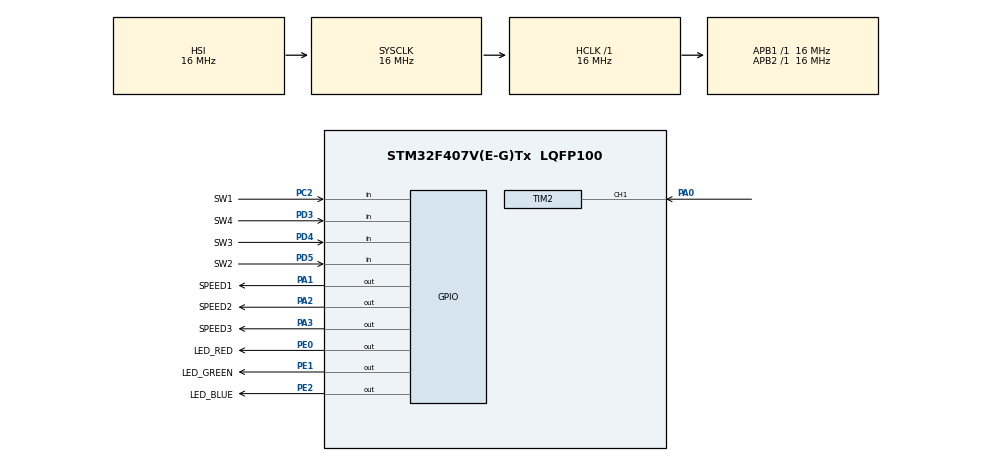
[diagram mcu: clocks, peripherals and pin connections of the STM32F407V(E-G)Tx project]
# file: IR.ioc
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Mcu.Family=STM32F4
Mcu.Name=STM32F407V(E-G)Tx
Mcu.Package=LQFP100
NVIC.PriorityGroup=NVIC_PRIORITYGROUP_4
NVIC.TIM2_IRQn=true\:0\:0\:false\:false\:true\:true\:true
PA0-WKUP.GPIO_PuPd=GPIO_PULLUP
PA0-WKUP.Signal=S_TIM2_CH1_ETR
PA1.GPIO_Label=SPEED1
PA1.GPIO_ModeDefaultOutputPP=GPIO_MODE_OUTPUT_PP
PA1.GPIO_Speed=GPIO_SPEED_FREQ_MEDIUM
PA1.Signal=GPIO_Output
PA13.Mode=Serial_Wire
PA13.Signal=SYS_JTMS-SWDIO
PA14.Mode=Serial_Wire
PA14.Signal=SYS_JTCK-SWCLK
PA2.GPIO_Label=SPEED2
PA2.GPIO_ModeDefaultOutputPP=GPIO_MODE_OUTPUT_PP
PA2.GPIO_Speed=GPIO_SPEED_FREQ_MEDIUM
PA2.Signal=GPIO_Output
PA3.GPIO_Label=SPEED3
PA3.GPIO_Speed=GPIO_SPEED_FREQ_MEDIUM
PA3.Signal=GPIO_Output
PC2.GPIO_Label=SW1
PC2.GPIO_PuPd=GPIO_PULLUP
PC2.Signal=GPIO_Input
PD3.GPIO_Label=SW4
PD3.GPIO_PuPd=GPIO_PULLUP
PD3.Signal=GPIO_Input
PD4.GPIO_Label=SW3
PD4.GPIO_PuPd=GPIO_PULLUP
PD4.Signal=GPIO_Input
PD5.GPIO_Label=SW2
PD5.GPIO_PuPd=GPIO_PULLUP
PD5.Signal=GPIO_Input
PE0.GPIO_Label=LED_RED
PE0.GPIO_ModeDefaultOutputPP=GPIO_MODE_OUTPUT_OD
PE0.GPIO_Speed=GPIO_SPEED_FREQ_MEDIUM
PE0.PinState=GPIO_PIN_SET
PE0.Signal=GPIO_Output
PE1.GPIO_Label=LED_GREEN
PE1.GPIO_ModeDefaultOutputPP=GPIO_MODE_OUTPUT_OD
PE1.GPIO_Speed=GPIO_SPEED_FREQ_MEDIUM
PE1.PinState=GPIO_PIN_SET
PE1.Signal=GPIO_Output
PE2.GPIO_Label=LED_BLUE
PE2.GPIO_ModeDefaultOutputPP=GPIO_MODE_OUTPUT_OD
PE2.GPIO_Speed=GPIO_SPEED_FREQ_MEDIUM
PE2.PinState=GPIO_PIN_SET
PE2.Signal=GPIO_Output
ProjectManager.HeapSize=0x200
ProjectManager.StackSize=0x400
ProjectManager.TargetToolchain=STM32CubeIDE
RCC.AHBFreq_Value=16000000
RCC.APB1Freq_Value=16000000
RCC.APB2Freq_Value=16000000
RCC.CortexFreq_Value=16000000
RCC.HSE_VALUE=25000000
RCC.HSI_VALUE=16000000
RCC.LSE_VALUE=32768
RCC.SYSCLKFreq_VALUE=16000000
RCC.VCOOutputFreq_Value=192000000
SH.S_TIM2_CH1_ETR.0=TIM2_CH1,Input_Capture1_from_TI1
TIM2.Channel-Input_Capture1_from_TI1=TIM_CHANNEL_1
TIM2.ICFilter_CH1=15
TIM2.ICPolarity_CH1=TIM_INPUTCHANNELPOLARITY_FALLING
TIM2.Period=4294967290
TIM2.Prescaler=160
VP_TIM2_VS_ClockSourceINT.Mode=Internal
board=custom

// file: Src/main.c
/* USER CODE BEGIN Header */
/**
  ******************************************************************************
  * @file           : main.c
  * @brief          : Main program body
  ******************************************************************************
  * @attention
  *
  * <h2><center>&copy; Copyright (c) 2019 STMicroelectronics.
  * All rights reserved.</center></h2>
  *
  * This software component is licensed by ST under BSD 3-Clause license,
  * the "License"; You may not use this file except in compliance with the
  * License. You may obtain a copy of the License at:
  *                        opensource.org/licenses/BSD-3-Clause
  *
  ******************************************************************************
  */
/* USER CODE END Header */

#include "main.h"
#include "tim.h"
#include "gpio.h"

/* USER CODE BEGIN PM */
#define MINUS 16718054
#define PLUS 16716014
#define EQ 16734884
#define PLAY 16726214
/* USER CODE END PM */

/* USER CODE BEGIN PV */
uint32_t  count=0, input_capture=0,input_diference=0,input_last=0,data=0;
uint8_t sample=0;
uint8_t buttons[4]={0,0,0,0};
enum {START,DATA,DATA_FULL}state_ir=START;
enum {REMOTE,BUTTONS}control=BUTTONS;
/* USER CODE END PV */

void SystemClock_Config(void);

/* USER CODE BEGIN 0 */
void ReadButtons();
void Velocity(int select);
void ReadDataIR();
void ControlFan();
/* USER CODE END 0 */

int main(void)
{

  /* MCU Configuration--------------------------------------------------------*/

  /* Reset of all peripherals, Initializes the Flash interface and the Systick. */
  HAL_Init();

  /* Configure the system clock */
  SystemClock_Config();

  /* Initialize all configured peripherals */
  MX_GPIO_Init();
  MX_TIM2_Init();
  /* USER CODE BEGIN 2 */
  HAL_TIM_IC_Start_IT(&htim2, TIM_CHANNEL_1);
  /* USER CODE END 2 */

  /* Infinite loop */
  while (1)
  {

    /* USER CODE BEGIN 3 */
	  //Get counter timer 1
	  count = __HAL_TIM_GetCounter(&htim2);
	  ReadDataIR();
	  ReadButtons();
	  ControlFan();
  }
  /* USER CODE END 3 */
}

void SystemClock_Config(void)
{
  RCC_OscInitTypeDef RCC_OscInitStruct = {0};
  RCC_ClkInitTypeDef RCC_ClkInitStruct = {0};

  /** Configure the main internal regulator output voltage
  */
  __HAL_RCC_PWR_CLK_ENABLE();
  __HAL_PWR_VOLTAGESCALING_CONFIG(PWR_REGULATOR_VOLTAGE_SCALE1);
  /** Initializes the CPU, AHB and APB busses clocks
  */
  RCC_OscInitStruct.OscillatorType = RCC_OSCILLATORTYPE_HSI;
  RCC_OscInitStruct.HSIState = RCC_HSI_ON;
  RCC_OscInitStruct.HSICalibrationValue = RCC_HSICALIBRATION_DEFAULT;
  RCC_OscInitStruct.PLL.PLLState = RCC_PLL_NONE;
  if (HAL_RCC_OscConfig(&RCC_OscInitStruct) != HAL_OK)
  {
    Error_Handler();
  }
  /** Initializes the CPU, AHB and APB busses clocks
  */
  RCC_ClkInitStruct.ClockType = RCC_CLOCKTYPE_HCLK|RCC_CLOCKTYPE_SYSCLK
                              |RCC_CLOCKTYPE_PCLK1|RCC_CLOCKTYPE_PCLK2;
  RCC_ClkInitStruct.SYSCLKSource = RCC_SYSCLKSOURCE_HSI;
  RCC_ClkInitStruct.AHBCLKDivider = RCC_SYSCLK_DIV1;
  RCC_ClkInitStruct.APB1CLKDivider = RCC_HCLK_DIV1;
  RCC_ClkInitStruct.APB2CLKDivider = RCC_HCLK_DIV1;

  if (HAL_RCC_ClockConfig(&RCC_ClkInitStruct, FLASH_LATENCY_0) != HAL_OK)
  {
    Error_Handler();
  }
}

/* USER CODE BEGIN 4 */

void HAL_TIM_IC_CaptureCallback(TIM_HandleTypeDef *htim)
{
 if (htim->Instance==TIM2)
  {
	 if(state_ir==START){
		 //Restart counter
		 __HAL_TIM_SetCounter(&htim2, 0);
		 //Clear variables
	 	 input_capture=0;
	 	 input_last=0;
	 	 input_diference=0;
	 	 sample=0;
	 	 //start protocol
		 state_ir=DATA;
	 }
	 else if(state_ir==DATA)
	 {
		 //Read Timer
		 input_capture= __HAL_TIM_GetCompare(&htim2, TIM_CHANNEL_1);    //read TIM2 channel 1 capture value
		 //get difference between first pulse to second pulse
		 input_diference=input_capture-input_last;
		 //if the logic bit 1 occurs
		 if(input_diference>210 && input_diference<230){//225
			 data |= (1UL << (31-sample));   // write 1
		 	 sample++;//increase sample
	 	 }
		 //if the logic bit 0 occurs
		 else if(input_diference>108 && input_diference<116){//112
			 data &= ~(1UL << (31-sample));//write 0
			 sample++;//increase sample
		 }
		 if(sample==31){//if sample is 31 data is full
			 state_ir=DATA_FULL;
		 }
		 input_last=input_capture;
      }
   }
}

void Velocity(int select){
	if(select==0){
		  HAL_GPIO_WritePin(GPIOE, LED_BLUE_Pin,GPIO_PIN_SET);
		  HAL_GPIO_WritePin(GPIOE, LED_RED_Pin,GPIO_PIN_SET);
		  HAL_GPIO_WritePin(GPIOE, LED_GREEN_Pin,GPIO_PIN_SET);
		  //_------------------------------------------------------------
		  HAL_GPIO_WritePin(SPEED1_GPIO_Port, SPEED1_Pin, GPIO_PIN_RESET);
		  HAL_GPIO_WritePin(SPEED2_GPIO_Port, SPEED2_Pin, GPIO_PIN_RESET);
		  HAL_GPIO_WritePin(SPEED3_GPIO_Port, SPEED3_Pin, GPIO_PIN_RESET);
	}
	else if(select==1){
		  HAL_GPIO_WritePin(GPIOE, LED_BLUE_Pin,GPIO_PIN_RESET);
		  HAL_GPIO_WritePin(GPIOE, LED_RED_Pin,GPIO_PIN_SET);
		  HAL_GPIO_WritePin(GPIOE, LED_GREEN_Pin,GPIO_PIN_SET);
		  //_------------------------------------------------------------
		  HAL_GPIO_WritePin(SPEED1_GPIO_Port, SPEED1_Pin, GPIO_PIN_SET);
		  HAL_GPIO_WritePin(SPEED2_GPIO_Port, SPEED2_Pin, GPIO_PIN_RESET);
		  HAL_GPIO_WritePin(SPEED3_GPIO_Port, SPEED3_Pin, GPIO_PIN_RESET);
	}
	else if(select==2){
		  HAL_GPIO_WritePin(GPIOE, LED_BLUE_Pin,GPIO_PIN_SET);
		  HAL_GPIO_WritePin(GPIOE, LED_RED_Pin,GPIO_PIN_RESET);
		  HAL_GPIO_WritePin(GPIOE, LED_GREEN_Pin,GPIO_PIN_SET);
		  //_------------------------------------------------------------
		  HAL_GPIO_WritePin(SPEED1_GPIO_Port, SPEED1_Pin, GPIO_PIN_RESET);
		  HAL_GPIO_WritePin(SPEED2_GPIO_Port, SPEED2_Pin, GPIO_PIN_SET);
		  HAL_GPIO_WritePin(SPEED3_GPIO_Port, SPEED3_Pin, GPIO_PIN_RESET);
	}
	else if(select==3){
		  HAL_GPIO_WritePin(GPIOE, LED_BLUE_Pin,GPIO_PIN_SET);
		  HAL_GPIO_WritePin(GPIOE, LED_RED_Pin,GPIO_PIN_SET);
		  HAL_GPIO_WritePin(GPIOE, LED_GREEN_Pin,GPIO_PIN_RESET);
		  //_------------------------------------------------------------
		  HAL_GPIO_WritePin(SPEED1_GPIO_Port, SPEED1_Pin, GPIO_PIN_RESET);
		  HAL_GPIO_WritePin(SPEED2_GPIO_Port, SPEED2_Pin, GPIO_PIN_RESET);
		  HAL_GPIO_WritePin(SPEED3_GPIO_Port, SPEED3_Pin, GPIO_PIN_SET);
	}
}

void ReadButtons(){
	  buttons[0]=!(HAL_GPIO_ReadPin(SW1_GPIO_Port,SW1_Pin));
	  buttons[1]=!(HAL_GPIO_ReadPin(SW2_GPIO_Port,SW2_Pin));
	  buttons[2]=!(HAL_GPIO_ReadPin(SW3_GPIO_Port,SW3_Pin));
	  buttons[3]=!(HAL_GPIO_ReadPin(SW4_GPIO_Port,SW4_Pin));
	  if(buttons[0]||buttons[1]||buttons[2]||buttons[3])
		  control=BUTTONS;
}
void ReadDataIR(){
	  if(state_ir==DATA_FULL){
		  HAL_Delay(150);
		  state_ir=START;
		  control=REMOTE;
	  }
}
void ControlFan(){
	  if(control==REMOTE){
		  if(data==MINUS){
			  Velocity(1);
		  }
		  else if(data==PLUS){
			  Velocity(2);
		  }
		  else if(data==EQ){
			  Velocity(3);
		  }
		  else if(data==PLAY){
			  Velocity(0);
		  }
	  }
	  else if(control==BUTTONS){
		  if(buttons[0]){
			  Velocity(1);
		  }
		  else if(buttons[1]){
			  Velocity(2);
		  }
		  else if(buttons[2]){
			  Velocity(3);
		  }
		  else if(buttons[3]){
			  Velocity(0);
		  }
	  }
}
/* USER CODE END 4 */

void Error_Handler(void)
{
}

/************************ (C) COPYRIGHT STMicroelectronics *****END OF FILE****/
